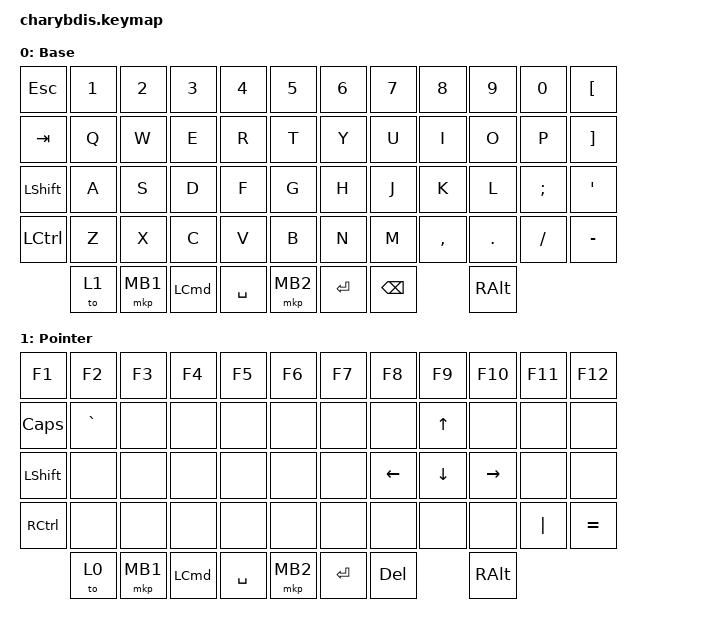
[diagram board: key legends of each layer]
#include <dt-bindings/zmk/mouse.h>
#include <behaviors/mouse_keys.dtsi>
#include <behaviors.dtsi>
#include <dt-bindings/zmk/keys.h>
#include <dt-bindings/zmk/pointing.h>

/ {
    chosen { zmk,physical-layout = &charybdis_6col_layout; };
};

&mt {
    quick-tap-ms = <200>;
    flavor = "tap-preferred";
    tapping-term-ms = <170>;
};

&lt {
    quick-tap-ms = <200>;
    flavor = "tap-preferred";
    tapping-term-ms = <170>;
};

// Layer definitions

#define BASE 0
#define POINTER 1
#define LOWER 2
#define RAISE 3
#define SYMBOLS 4
#define SCROLL 5
#define SNIPING 6
#define GAMING 7

/ {
    behaviors {
        // Hold-tap behavior for layer with tap-preferred

        blt: blt {
            compatible = "zmk,behavior-hold-tap";
            #binding-cells = <2>;
            flavor = "tap-preferred";
            tapping-term-ms = <200>;
            quick-tap-ms = <300>;
            require-prior-idle-ms = <100>;
            bindings = <&mo>, <&kp>;
        };

        // Tap-dance for GUI/Ctrl+B

        gui_ctrlb: gui_ctrlb {
            compatible = "zmk,behavior-tap-dance";
            #binding-cells = <0>;
            tapping-term-ms = <200>;
            bindings = <&kp LGUI>, <&kp LC(B)>;
        };

        // Tap/hold Alt, double-tap Ctrl+Shift+Z

        lalt_dt: lalt_dt {
            compatible = "zmk,behavior-tap-dance";
            #binding-cells = <0>;
            tapping-term-ms = <200>;
            bindings = <&kp LALT>, <&kp LC(LS(Z))>;
        };

        // Home row mods - Left hand

        hml: home_row_mod_left {
            compatible = "zmk,behavior-hold-tap";
            #binding-cells = <2>;
            flavor = "balanced";
            require-prior-idle-ms = <150>;
            tapping-term-ms = <280>;
            quick-tap-ms = <175>;
            bindings = <&kp>, <&kp>;

            hold-trigger-key-positions = <6 7 8 9 10 11 18 19 20 21 22 23 30 31 32 33 34 35 42 43 44 45 46 47 53 54 55>; // Right side keys
            hold-trigger-on-release;
        };

        // Home row mods - Right hand

        hmr: home_row_mod_right {
            compatible = "zmk,behavior-hold-tap";
            #binding-cells = <2>;
            flavor = "balanced";
            require-prior-idle-ms = <150>;
            tapping-term-ms = <280>;
            quick-tap-ms = <175>;
            bindings = <&kp>, <&kp>;

            hold-trigger-key-positions = <0 1 2 3 4 5 12 13 14 15 16 17 24 25 26 27 28 29 36 37 38 39 40 41 48 49 50 51 52>; // Left side keys
            hold-trigger-on-release;
        };
    };

    macros {
        // Ctrl+Alt+Cmd macro

        CAC: CAC {
            compatible = "zmk,behavior-macro-one-param";
            #binding-cells = <1>;
            bindings =
                <&macro_press>,
                <&kp LCTRL &kp LALT &kp LGUI &macro_param_1to1>,
                <&macro_tap>,
                <&kp MACRO_PLACEHOLDER>,
                <&macro_release>,
                <&kp LCTRL &kp LALT &kp LGUI>;
        };

        // Ctrl+Shift+Alt macro

        CSA: CSA {
            compatible = "zmk,behavior-macro-one-param";
            #binding-cells = <1>;
            bindings =
                <&macro_press>,
                <&kp LCTRL &kp LSHIFT &kp LALT &macro_param_1to1>,
                <&macro_tap>,
                <&kp MACRO_PLACEHOLDER>,
                <&macro_release>,
                <&kp LCTRL &kp LSHIFT &kp LALT>;
        };

        // Ctrl+Alt macro

        CA: CA {
            compatible = "zmk,behavior-macro-one-param";
            #binding-cells = <1>;
            bindings =
                <&macro_press>,
                <&kp LCTRL &kp LALT &macro_param_1to1>,
                <&macro_tap>,
                <&kp MACRO_PLACEHOLDER>,
                <&macro_release>,
                <&kp LCTRL &kp LALT>;
        };

        // Hold Ctrl+Cmd+Left Click while key is pressed (for mouse drag window actions)

        ctrl_cmd_hold: ctrl_cmd_hold {
            compatible = "zmk,behavior-macro";
            wait-ms = <0>;
            tap-ms = <10>;
            #binding-cells = <0>;
            bindings =
                <&macro_press>,
                <&kp LCTRL &kp LGUI &mkp LCLK>,
                <&macro_pause_for_release>,
                <&macro_release>,
                <&mkp LCLK &kp LCTRL &kp LGUI>;
        };
    };

    combos {
        compatible = "zmk,combos";
        timeout-ms = <20>;
        require-prior-idle-ms = <250>;

        // Studio Unlock Combo - all three right thumb keys

        combo_studio_unlock {
            timeout-ms = <50>;
            key-positions = <53 54 55>;
            bindings = <&studio_unlock>;
        };

        // Gaming layer toggle combo - keys 49, 55, 54

        combo_gaming_toggle {
            timeout-ms = <50>;
            key-positions = <49 55 54>;
            bindings = <&tog 0>;
        };
    };

    keymap {
        compatible = "zmk,keymap";

        // ╭─────────────┬─────────────┬─────────────┬─────────────┬─────────────┬─────────────╮   ╭─────────────┬─────────────┬─────────────┬─────────────┬─────────────┬─────────────╮
        //    0             1             2             3             4             5                 6             7             8             9            10            11
        // ├─────────────┼─────────────┼─────────────┼─────────────┼─────────────┼─────────────┤   ├─────────────┼─────────────┼─────────────┼─────────────┼─────────────┼─────────────┤
        //   12            13            14            15            16            17                18            19            20            21            22            23
        // ├─────────────┼─────────────┼─────────────┼─────────────┼─────────────┼─────────────┤   ├─────────────┼─────────────┼─────────────┼─────────────┼─────────────┼─────────────┤
        //   24            25            26            27            28            29                30            31            32            33            34            35
        // ├─────────────┼─────────────┼─────────────┼─────────────┼─────────────┼─────────────┤   ├─────────────┼─────────────┼─────────────┼─────────────┼─────────────┼─────────────┤
        //   36            37            38            39            40            41                42            43            44            45            46            47
        // ╰─────────────┴─────────────┴─────────────┴─────────────┴─────────────┴─────────────╯   ╰─────────────┴─────────────┴─────────────┴─────────────┴─────────────┴─────────────╯
        //               ╭─────────────┬─────────────┬─────────────┬─────────────┬─────────────╮   ╭─────────────┬─────────────┬─────────────╮
        //                  48            49            50            51            52                53            54            55
        //               ╰─────────────┴─────────────┴─────────────┴─────────────┴─────────────╯   ╰─────────────┴─────────────┴─────────────╯
        //                                                                         Actual Key Positions
        //                                          ╭─────────────┬─────────────┬─────────────╮    ╭─────────────┬─────────────╮
        //                                             50           51            48                 55            54
        //                                          ╰─────────────┼─────────────┼─────────────┤    ├─────────────┼─────────────╯
        //                                                          52            49                 53
        //                                                        ╰─────────────┴─────────────╯    ╰─────────────╯

        base_layer {
            label = "BASE";
            display-name = "Base";
            bindings = <
&kp ESC         &kp N1  &kp N2    &kp N3            &kp N4     &kp N5    &kp N6          &kp N7         &kp N8     &kp N9         &kp N0     &kp LEFT_BRACKET
&kp TAB         &kp Q   &kp W     &kp E             &kp R      &kp T              &kp Y  &kp U          &kp I      &kp O          &kp P      &kp RIGHT_BRACKET
&kp LEFT_SHIFT  &kp A   &kp S     &kp D             &kp F      &kp G              &kp H  &kp J          &kp K      &kp L          &kp SEMI   &kp SQT
&kp LCTRL       &kp Z   &kp X     &kp C             &kp V      &kp B              &kp N  &kp M          &kp COMMA  &kp DOT        &kp SLASH  &kp MINUS
                &to 1   &mkp MB1  &kp LEFT_COMMAND  &kp SPACE  &mkp MB2  &kp RET         &kp BACKSPACE             &kp RIGHT_ALT
            >;
        };

        pointer_layer {
            label = "POINTER";
            display-name = "Pointer";
            bindings = <
&kp F1             &kp F2     &kp F3    &kp F4            &kp F5     &kp F6    &kp F7            &kp F8      &kp F9    &kp F10        &kp F11   &kp F12
&kp CAPSLOCK       &kp GRAVE  &none     &none             &none      &none                &none  &none       &kp UP    &none          &none     &none
&kp LEFT_SHIFT     &none      &none     &none             &none      &none                &none  &kp LEFT    &kp DOWN  &kp RIGHT      &none     &none
&kp RIGHT_CONTROL  &none      &none     &none             &none      &none                &none  &none       &none     &none          &kp PIPE  &kp EQUAL
                   &to 0      &mkp MB1  &kp LEFT_COMMAND  &kp SPACE  &mkp MB2  &kp ENTER         &kp DELETE            &kp RIGHT_ALT
            >;
        };
    };
};
